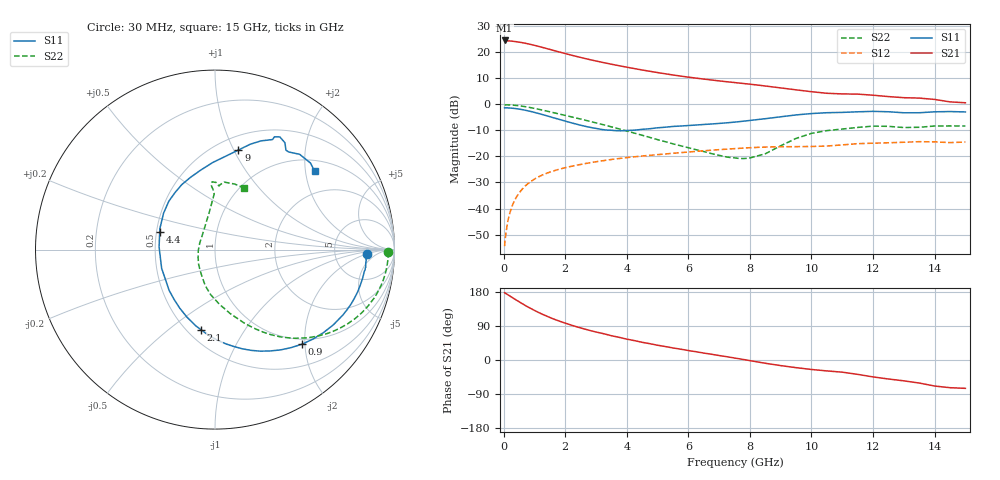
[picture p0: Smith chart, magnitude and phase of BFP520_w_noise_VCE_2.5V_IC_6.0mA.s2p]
! Infineon Technologies  Discrete & RF Semiconductors
! BFP520
! VCE =  2.5 V,  IC =  6.0 mA
! Common Emitter S-Parameters:  Oct 2015
# GHz  S  MA  R  50
!  f  S11  S21  S12  S22
! GHz  MAG  ANG  MAG  ANG  MAG  ANG  MAG  ANG
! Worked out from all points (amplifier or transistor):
!   109 points, 30 MHz to 15 GHz, reference 50 ohm
!   highest |S21| = 24.3 dB at 30 MHz (marker M1)
!   |S21| within 3 dB of that: start of sweep to 1.365 GHz
!   unconditionally stable (mu >= 1): 3.996 GHz to end of sweep
!   at 450 MHz: K = 0.23, MSG = 29.4 dB, |S12| = -34.9 dB
!   at 4 GHz: K = 1.00, MAG = 17.2 dB, |S12| = -20.5 dB
!   at 15 GHz: K = 1.36, MAG = 3.9 dB, |S12| = -14.5 dB
!   lowest NFmin = 1.26 dB at 900 MHz
!   S11 on the Smith chart (normalised r, x): 30 MHz: 12, -2; 900 MHz: 0.90, -1.94; 2.1 GHz: 0.58, -0.66; 4.4 GHz: 0.52, +0.11; 9 GHz: 0.63, +1.04; 15 GHz: 1.29, +2.25
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0.03  0.8451 -1.6  16.5 177.6  0.0019 38.2  0.9621 -0.8
0.05  0.8443 -2.4  16.33 176.1  0.0025 52.1  0.9636 -1.5
0.07  0.8429 -3.7  16.41 175.2  0.0032 60.9  0.9647 -2.2
0.25  0.8335 -13.6  16.03 166.3  0.0101 75.2  0.9571 -8.5
0.45  0.8086 -24.4  15.49 156.1  0.0179 73.5  0.9344 -15.3
0.7  0.7612 -37.4  14.59 144.0  0.027 69.2  0.8902 -23.3
0.9  0.7164 -47.3  13.74 135.1  0.0335 65.5  0.8478 -29.1
1.2  0.6431 -61.4  12.41 122.9  0.0422 60.3  0.7789 -37.0
1.5  0.5728 -74.7  11.12 112.2  0.0498 55.8  0.7104 -43.8
1.8  0.5095 -87.5  9.947 102.9  0.0564 51.9  0.6455 -49.7
2.1  0.4531 -99.9  8.937 94.7  0.0624 48.6  0.5867 -54.9
2.6  0.3807 -121.1  7.55 82.3  0.0716 43.8  0.4986 -62.7
3  0.342 -138.4  6.671 73.8  0.0785 40.3  0.4354 -68.8
3.5  0.3149 -160.8  5.788 64.0  0.0868 36.0  0.3659 -76.7
4.4  0.3228 162.6  4.597 48.5  0.0998 28.5  0.2619 -93.2
5.1  0.3544 142.3  3.918 37.6  0.1088 23.3  0.201 -106.5
6.1  0.3913 123.3  3.217 23.7  0.122 16.1  0.1407 -126.3
7.6  0.457 98.1  2.541 3.9  0.1412 4.2  0.0915 177.6
9  0.5698 76.8  2.036 -14.8  0.1522 -8.5  0.1589 108.0
10.5  0.6823 63.6  1.607 -28.8  0.157 -16.7  0.31 90.8
13  0.6807 54.5  1.323 -55.0  0.1854 -36.2  0.3547 86.4
15  0.7061 38.1  1.058 -74.8  0.1873 -51.7  0.3798 64.4
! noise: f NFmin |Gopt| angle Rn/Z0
0.45  1.29  0.43  2  0.31
0.9  1.26  0.42  9  0.32
1.9  1.48  0.36  20  0.28
2.4  1.51  0.32  32  0.27
3.5  1.45  0.29  55  0.26
